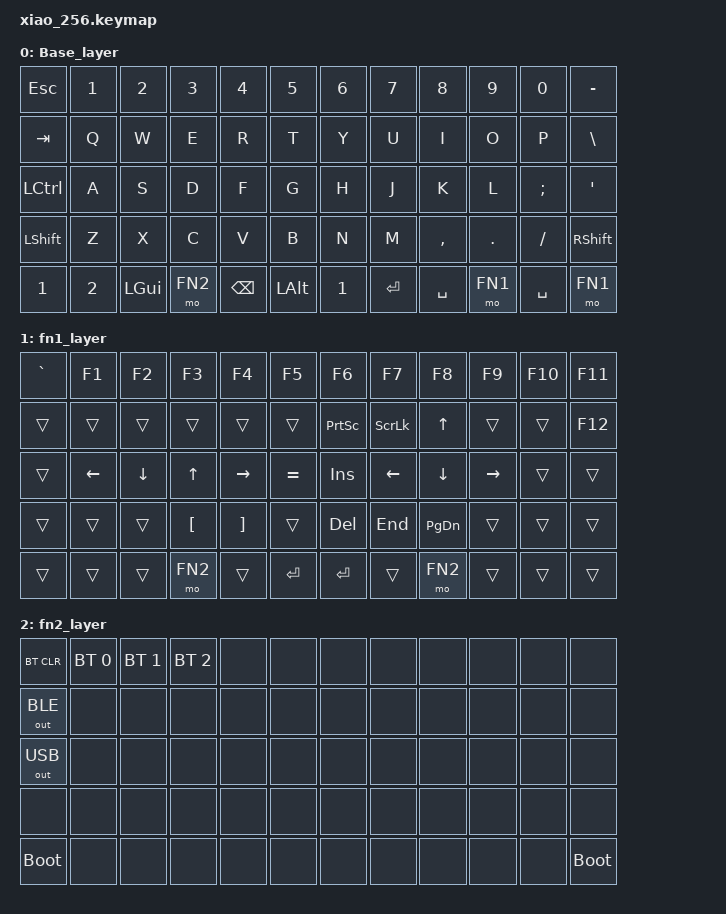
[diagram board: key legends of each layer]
#include <behaviors.dtsi>
#include <dt-bindings/zmk/keys.h>
#include <dt-bindings/zmk/bt.h>
#include <dt-bindings/zmk/outputs.h>
#include <dt-bindings/zmk/reset.h>

#define BASE 0
#define FN1 1
#define FN2 2

/ {
  keymap {
    compatible = "zmk,keymap";

    Base_layer {
      bindings = <
        &kp ESC     &kp N1      &kp N2      &kp N3      &kp N4      &kp N5      &kp N6      &kp N7      &kp N8      &kp N9      &kp N0      &kp MINUS
        &kp TAB     &kp Q       &kp W       &kp E       &kp R       &kp T       &kp Y       &kp U       &kp I       &kp O       &kp P       &kp BSLH
        &kp LCTRL   &kp A       &kp S       &kp D       &kp F       &kp G       &kp H       &kp J       &kp K       &kp L       &kp SEMI    &kp SQT
        &kp LSHFT   &kp Z       &kp X       &kp C       &kp V       &kp B       &kp N       &kp M       &kp COMMA   &kp DOT     &kp SLASH   &kp RSHFT
        &kp N1      &kp N2      &kp LGUI    &mo FN2     &kp BSPC    &kp LALT    &kp N1      &kp RETURN  &kp SPACE   &mo FN1     &kp SPACE   &mo FN1 
      >;
    };

    fn1_layer {
      bindings = <
        &kp GRAVE   &kp F1      &kp F2      &kp F3      &kp F4      &kp F5      &kp F6      &kp F7      &kp F8      &kp F9      &kp F10     &kp F11
        &trans      &trans      &trans      &trans      &trans      &trans      &kp PSCRN   &kp SLCK    &kp UP      &trans      &trans      &kp F12
        &trans      &kp LEFT    &kp DOWN    &kp UP      &kp RIGHT   &kp EQUAL   &kp INSERT  &kp LEFT    &kp DOWN    &kp RIGHT   &trans      &trans
        &trans      &trans      &trans      &kp LBKT    &kp RBKT    &trans      &kp DEL     &kp END     &kp PG_DN   &trans      &trans      &trans
        &trans      &trans      &trans      &mo FN2     &trans      &kp RETURN  &kp RETURN  &trans      &mo FN2     &trans      &trans      &trans 
      >;
    };

    fn2_layer {
      bindings = <
        &bt BT_CLR  &bt BT_SEL 0 &bt BT_SEL 1 &bt BT_SEL 2 &none    &none       &none       &none       &none       &none       &none       &none
        &out OUT_BLE &none      &none       &none       &none       &none       &none       &none       &none       &none       &none       &none
        &out OUT_USB &none      &none       &none       &none       &none       &none       &none       &none       &none       &none       &none
        &none       &none       &none       &none       &none       &none       &none       &none       &none       &none       &none       &none
        &bootloader &none       &none       &none       &none       &none       &none       &none       &none       &none       &none       &bootloader 
      >;
    };

  };
};
